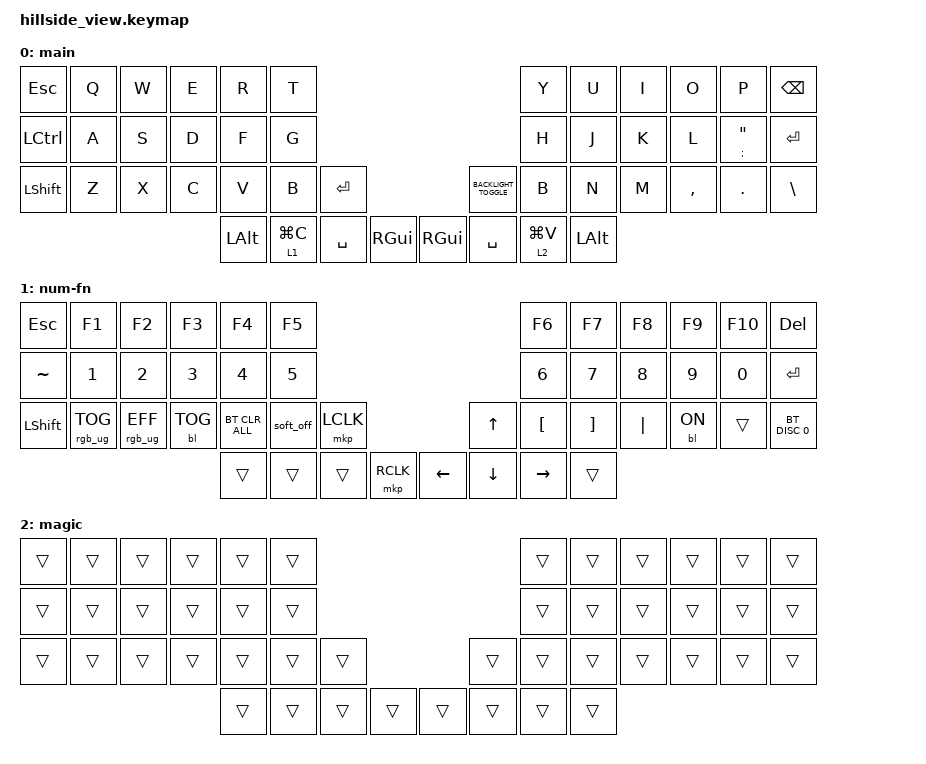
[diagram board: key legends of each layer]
#include <behaviors.dtsi>
#include <dt-bindings/zmk/backlight.h>
#include <dt-bindings/zmk/bt.h>
#include <dt-bindings/zmk/keys.h>
#include <dt-bindings/zmk/mouse.h>
#include <dt-bindings/zmk/rgb.h>


/ {
    combos {
        compatible = "zmk,combos";

        combo_tab {
            bindings = <&kp TAB>;
            key-positions = <0 1>;
            layers = <0>;
        };
    };

    keymap {
        compatible = "zmk,keymap";

        main {
            bindings = <
&kp ESC    &kp Q  &kp W  &kp E  &kp R     &kp T                                                                 &kp Y        &kp U     &kp I  &kp O      &kp P                        &kp BSPC
&kp LCTRL  &kp A  &kp S  &kp D  &kp F     &kp G                                                                 &kp H        &kp J     &kp K  &kp L      &mt SEMICOLON DOUBLE_QUOTES  &kp ENTER
&kp LSHFT  &kp Z  &kp X  &kp C  &kp V     &kp B        &kp ENTER                        &kp C_BACKLIGHT_TOGGLE  &kp B        &kp N     &kp M  &kp COMMA  &kp PERIOD                   &kp BSLH
                                &kp LALT  &lt 1 LG(C)  &kp SPACE  &kp RGUI    &kp RGUI  &kp SPACE               &lt 2 LG(V)  &kp LALT
            >;
        };

        num-fn {
            bindings = <
&kp ESC         &kp F1           &kp F2           &kp F3      &kp F4          &kp F5                                                             &kp F6            &kp F7             &kp F8    &kp F9     &kp F10  &kp DEL
&kp TILDE       &kp N1           &kp N2           &kp N3      &kp N4          &kp N5                                                             &kp N6            &kp N7             &kp N8    &kp N9     &kp N0   &kp ENTER
&kp LEFT_SHIFT  &rgb_ug RGB_TOG  &rgb_ug RGB_EFF  &bl BL_TOG  &bt BT_CLR_ALL  &soft_off  &mkp LCLK                               &kp UP_ARROW    &kp LEFT_BRACKET  &kp RIGHT_BRACKET  &kp PIPE  &bl BL_ON  &trans   &bt BT_DISC 0
                                                              &trans          &trans     &trans     &mkp RCLK    &kp LEFT_ARROW  &kp DOWN_ARROW  &kp RIGHT_ARROW   &trans
            >;
        };

        magic {
            bindings = <
&trans  &trans  &trans  &trans  &trans  &trans                                    &trans  &trans  &trans  &trans  &trans  &trans
&trans  &trans  &trans  &trans  &trans  &trans                                    &trans  &trans  &trans  &trans  &trans  &trans
&trans  &trans  &trans  &trans  &trans  &trans  &trans                    &trans  &trans  &trans  &trans  &trans  &trans  &trans
                                &trans  &trans  &trans  &trans    &trans  &trans  &trans  &trans
            >;
        };
    };
};
